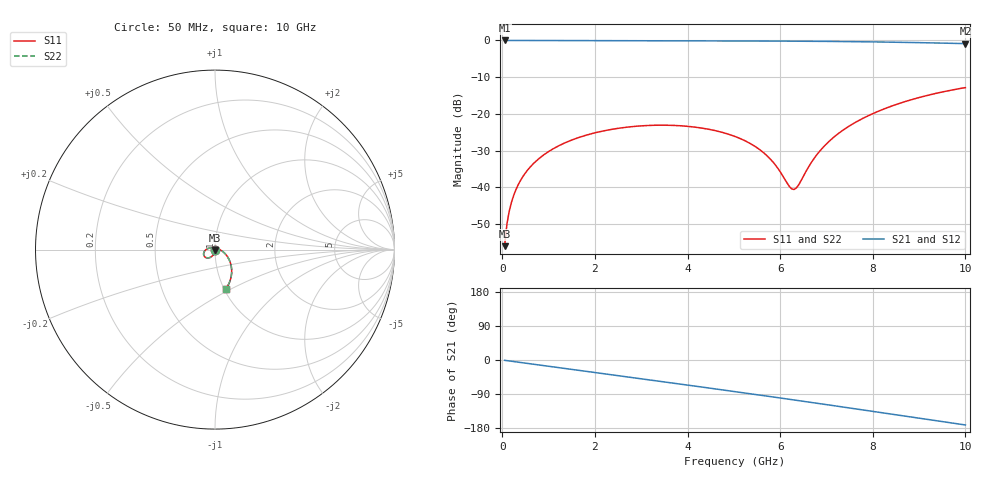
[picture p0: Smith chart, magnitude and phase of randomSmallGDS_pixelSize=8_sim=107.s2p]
! freq	dB(S11)	phase(S11)	dB(S12)	phase(S12)
!  dB(S21)	phase(S21)	dB(S22)	phase(S22)
!S-par simulation data
#  GHz  S  DB  R 50
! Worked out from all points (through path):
!   200 points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, 50 MHz to 10 GHz, reference 50 ohm
!   highest |S21| = 0.00 dB at 50 MHz (marker M1); lowest = -0.9 dB at 10 GHz (marker M2)
!   group delay of S21, straight-line fit = 47.5 ps
!   lowest |S11| = -56.0 dB at 50 MHz (marker M3), VSWR 1.00, Z = 50 - j0.158 ohm
!   |S11| at or under -10 dB: start of sweep to end of sweep
!   |S22| runs from -56.0 to -12.8 dB; largest |S21 - S12| = 0
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0.05  -56.04 -90.3  -0.00 -0.9  -0.00 -0.9  -56.04 -90.3
0.1  -50.02 -91.5  -0.00 -1.7  -0.00 -1.7  -50.02 -91.5
0.2  -44.00 -93.6  -0.01 -3.3  -0.01 -3.3  -44.00 -93.6
0.35  -39.15 -96.4  -0.01 -5.8  -0.01 -5.8  -39.15 -96.4
0.5  -36.08 -99.1  -0.01 -8.3  -0.01 -8.3  -36.08 -99.1
0.7  -33.22 -102.6  -0.01 -11.6  -0.01 -11.6  -33.22 -102.6
1  -30.27 -107.7  -0.02 -16.6  -0.02 -16.6  -30.27 -107.7
1.75  -26.04 -120.5  -0.04 -28.9  -0.04 -28.9  -26.04 -120.5
2.55  -23.85 -134.2  -0.06 -42.1  -0.06 -42.1  -23.85 -134.2
3.4  -23.08 -148.9  -0.08 -56.2  -0.08 -56.2  -23.08 -148.9
4.3  -23.86 -165.4  -0.11 -71.2  -0.11 -71.2  -23.86 -165.4
5.05  -26.28 178.9  -0.13 -83.9  -0.13 -83.9  -26.28 178.9
5.7  -31.22 158.7  -0.16 -95.0  -0.16 -95.0  -31.22 158.8
5.9  -33.98 147.3  -0.17 -98.5  -0.17 -98.5  -33.98 147.3
6.25  -40.45 90.4  -0.19 -104.6  -0.19 -104.6  -40.47 90.5
6.35  -40.19 59.5  -0.20 -106.3  -0.20 -106.3  -40.22 59.5
6.7  -32.74 4.8  -0.23 -112.4  -0.23 -112.4  -32.75 4.7
7  -28.17 -10.5  -0.26 -117.7  -0.26 -117.7  -28.17 -10.6
7.35  -24.50 -21.5  -0.30 -123.9  -0.30 -123.9  -24.51 -21.6
8.35  -18.14 -43.9  -0.45 -141.8  -0.45 -141.8  -18.15 -44.0
9.2  -14.91 -60.3  -0.64 -157.1  -0.64 -157.1  -14.91 -60.4
10  -12.84 -74.9  -0.86 -171.5  -0.86 -171.5  -12.85 -75.0
